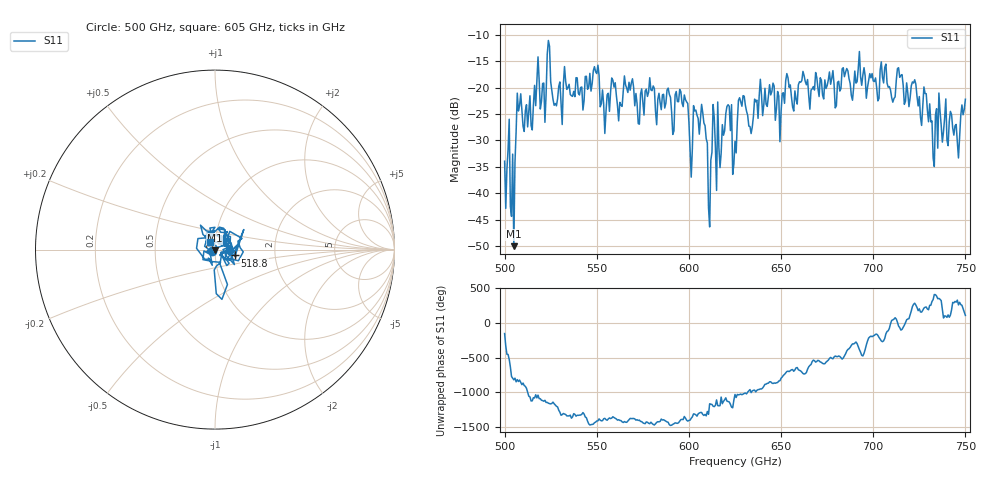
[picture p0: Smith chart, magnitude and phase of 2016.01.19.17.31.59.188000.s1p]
!Created with skrf (http://scikit-rf.org).
# GHz S RI R 50.0
!freq ReS11 ImS11
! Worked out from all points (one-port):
!   401 points, 500 GHz to 750 GHz, reference 50 ohm
!   lowest |S11| = -50.0 dB at 505 GHz (marker M1), VSWR 1.01, Z = 49.9 - j0.305 ohm
!   |S11| at or under -10 dB: start of sweep to end of sweep
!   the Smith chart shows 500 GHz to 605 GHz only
!   S11 on the Smith chart (normalised r, x): 500 GHz: 0.96, -0.02; 518.8 GHz: 1.25, -0.08; 605 GHz: 0.94, +0.08
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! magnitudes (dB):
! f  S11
! 500 GHz  -33.9
! 505 GHz  -50.0
! 508.1 GHz  -23.4
! 513.8 GHz  -21.5
! 518.8 GHz  -18.6
! 524.4 GHz  -12.2
! 526.9 GHz  -23.4
! 531.2 GHz  -27.0
! 549.4 GHz  -17.0
! 553.1 GHz  -20.4
! 562.5 GHz  -22.8
! 593.8 GHz  -22.6
! 600.6 GHz  -31.8
! 605 GHz  -25.8
! 608.1 GHz  -26.7
! 611.2 GHz  -46.4
! 613.1 GHz  -23.2
! 616.2 GHz  -31.3
! 620.6 GHz  -23.6
! 625 GHz  -30.2
! 628.1 GHz  -22.7
! 633.8 GHz  -28.7
! 656.2 GHz  -23.7
! 687.5 GHz  -19.2
! 718.8 GHz  -21.0
! 728.1 GHz  -21.1
! 733.8 GHz  -25.2
! 750 GHz  -22.2
